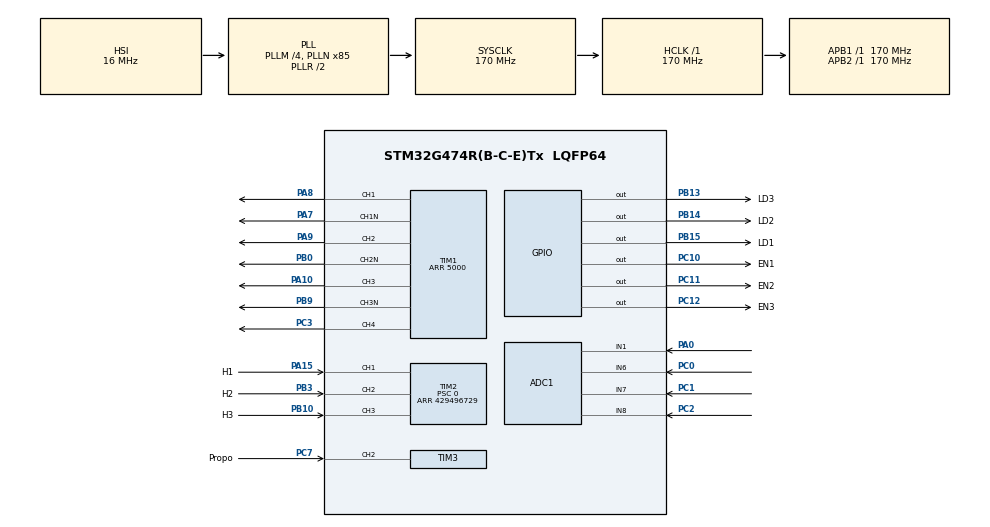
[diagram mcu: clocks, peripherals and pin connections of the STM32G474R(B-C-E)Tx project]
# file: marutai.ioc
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ADC1.Channel-0\#ChannelRegularConversion=ADC_CHANNEL_8
ADC1.EnableInjectedConversion=ENABLE
ADC1.ExternalTrigInjecConv=ADC_EXTERNALTRIGINJEC_T1_TRGO
ADC1.InjNumberOfConversion=3
ADC1.InjectedChannel-1\#ChannelInjectedConversion=ADC_CHANNEL_1
ADC1.InjectedChannel-2\#ChannelInjectedConversion=ADC_CHANNEL_7
ADC1.InjectedChannel-3\#ChannelInjectedConversion=ADC_CHANNEL_6
ADC1.InjectedOffsetNumber-1\#ChannelInjectedConversion=ADC_OFFSET_NONE
ADC1.InjectedOffsetNumber-2\#ChannelInjectedConversion=ADC_OFFSET_NONE
ADC1.InjectedOffsetNumber-3\#ChannelInjectedConversion=ADC_OFFSET_NONE
ADC1.InjectedRank-1\#ChannelInjectedConversion=1
ADC1.InjectedRank-2\#ChannelInjectedConversion=2
ADC1.InjectedRank-3\#ChannelInjectedConversion=3
ADC1.InjectedSamplingTime-1\#ChannelInjectedConversion=ADC_SAMPLETIME_2CYCLES_5
ADC1.InjectedSamplingTime-2\#ChannelInjectedConversion=ADC_SAMPLETIME_2CYCLES_5
ADC1.InjectedSamplingTime-3\#ChannelInjectedConversion=ADC_SAMPLETIME_2CYCLES_5
ADC1.NbrOfConversionFlag=1
ADC1.OffsetNumber-0\#ChannelRegularConversion=ADC_OFFSET_NONE
ADC1.Rank-0\#ChannelRegularConversion=1
ADC1.Rank1_Channel=ADC_CHANNEL_1
ADC1.Rank2_Channel=ADC_CHANNEL_7
ADC1.Rank3_Channel=ADC_CHANNEL_6
ADC1.SamplingTime-0\#ChannelRegularConversion=ADC_SAMPLETIME_2CYCLES_5
ADC1.master=1
Mcu.Family=STM32G4
Mcu.Name=STM32G474R(B-C-E)Tx
Mcu.Package=LQFP64
NVIC.ADC1_2_IRQn=true\:1\:0\:true\:false\:true\:true\:true\:true
NVIC.PriorityGroup=NVIC_PRIORITYGROUP_4
PA0.Mode=IN1-Single-Ended
PA0.Signal=ADC1_IN1
PA10.Signal=S_TIM1_CH3
PA15.GPIO_Label=H1
PA15.Signal=S_TIM2_CH1
PA7.Mode=PWM Generation1 CH1 CH1N
PA7.Signal=TIM1_CH1N
PA8.Signal=S_TIM1_CH1
PA9.Signal=S_TIM1_CH2
PB0.Mode=PWM Generation2 CH2 CH2N
PB0.Signal=TIM1_CH2N
PB10.GPIO_Label=H3
PB10.Signal=S_TIM2_CH3
PB13.GPIO_Label=LD3
PB13.Signal=GPIO_Output
PB14.GPIO_Label=LD2
PB14.Signal=GPIO_Output
PB15.GPIO_Label=LD1
PB15.Signal=GPIO_Output
PB3.GPIO_Label=H2
PB3.Signal=S_TIM2_CH2
PB9.Mode=PWM Generation3 CH3 CH3N
PB9.Signal=TIM1_CH3N
PC0.Mode=IN6-Single-Ended
PC0.Signal=ADC1_IN6
PC1.Mode=IN7-Single-Ended
PC1.Signal=ADC1_IN7
PC10.GPIO_Label=EN1
PC10.Signal=GPIO_Output
PC11.GPIO_Label=EN2
PC11.Signal=GPIO_Output
PC12.GPIO_Label=EN3
PC12.Signal=GPIO_Output
PC14-OSC32_IN.Mode=LSE-External-Oscillator
PC14-OSC32_IN.Signal=RCC_OSC32_IN
PC15-OSC32_OUT.Mode=LSE-External-Oscillator
PC15-OSC32_OUT.Signal=RCC_OSC32_OUT
PC2.Mode=IN8-Single-Ended
PC2.Signal=ADC1_IN8
PC3.Signal=S_TIM1_CH4
PC7.GPIO_Label=Propo
PC7.Signal=S_TIM3_CH2
PF0-OSC_IN.Mode=HSE-External-Oscillator
PF0-OSC_IN.Signal=RCC_OSC_IN
PF1-OSC_OUT.Mode=HSE-External-Oscillator
PF1-OSC_OUT.Signal=RCC_OSC_OUT
ProjectManager.HeapSize=0x200
ProjectManager.StackSize=0x400
ProjectManager.TargetToolchain=STM32CubeIDE
RCC.ADC12Freq_Value=170000000
RCC.ADC345Freq_Value=170000000
RCC.AHBFreq_Value=170000000
RCC.APB1Freq_Value=170000000
RCC.APB1TimFreq_Value=170000000
RCC.APB2Freq_Value=170000000
RCC.APB2TimFreq_Value=170000000
RCC.CortexFreq_Value=170000000
RCC.EXTERNAL_CLOCK_VALUE=12288000
RCC.HCLKFreq_Value=170000000
RCC.HSE_VALUE=24000000
RCC.HSI48_VALUE=48000000
RCC.HSI_VALUE=16000000
RCC.PLLM=RCC_PLLM_DIV4
RCC.PLLN=85
RCC.SYSCLKFreq_VALUE=170000000
RCC.SYSCLKSource=RCC_SYSCLKSOURCE_PLLCLK
RCC.USBFreq_Value=170000000
RCC.VCOOutputFreq_Value=340000000
SH.S_TIM1_CH1.0=TIM1_CH1,PWM Generation1 CH1 CH1N
SH.S_TIM1_CH2.0=TIM1_CH2,PWM Generation2 CH2 CH2N
SH.S_TIM1_CH3.0=TIM1_CH3,PWM Generation3 CH3 CH3N
SH.S_TIM1_CH4.0=TIM1_CH4,PWM Generation4 CH4
SH.S_TIM2_CH1.0=TIM2_CH1,Input_Capture1_from_TI1
SH.S_TIM2_CH2.0=TIM2_CH2,Input_Capture2_from_TI2
SH.S_TIM2_CH3.0=TIM2_CH3,Input_Capture3_from_TI3
SH.S_TIM3_CH2.0=TIM3_CH2,Input_Capture2_from_TI2
TIM1.Channel-PWM\ Generation1\ CH1\ CH1N=TIM_CHANNEL_1
TIM1.Channel-PWM\ Generation2\ CH2\ CH2N=TIM_CHANNEL_2
TIM1.Channel-PWM\ Generation3\ CH3\ CH3N=TIM_CHANNEL_3
TIM1.Channel-PWM\ Generation4\ CH4=TIM_CHANNEL_4
TIM1.CounterMode=TIM_COUNTERMODE_CENTERALIGNED1
TIM1.DeadTime=0
TIM1.OCNPolarity_3=TIM_OCNPOLARITY_LOW
TIM1.OCPolarity_3=TIM_OCPOLARITY_LOW
TIM1.PeriodNoDither=5000
TIM1.TIM_MasterOutputTrigger=TIM_TRGO_OC4REF
TIM2.Channel-Input_Capture1_from_TI1=TIM_CHANNEL_1
TIM2.Channel-Input_Capture2_from_TI2=TIM_CHANNEL_2
TIM2.Channel-Input_Capture3_from_TI3=TIM_CHANNEL_3
TIM2.ICFilter_CH1=10
TIM2.ICFilter_CH2=10
TIM2.ICFilter_CH3=10
TIM2.PeriodNoDither=429496729
TIM2.Prescaler=0
TIM3.Channel-Input_Capture2_from_TI2=TIM_CHANNEL_2
TIM3.ICFilter_CH2=10
TIM3.ICPolarity_CH2=TIM_INPUTCHANNELPOLARITY_BOTHEDGE
TIM3.Prescaler=170
board=custom

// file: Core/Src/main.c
/* USER CODE BEGIN Header */
/**
  ******************************************************************************
  * @file           : main.c
  * @brief          : Main program body
  ******************************************************************************
  * @attention
  *
  * Copyright (c) 2024 STMicroelectronics.
  * All rights reserved.
  *
  *
  *
  * This software is licensed under terms that can be found in the LICENSE file
  * in the root directory of this software component.
  * If no LICENSE file comes with this software, it is provided AS-IS.
  *
  ******************************************************************************
  */
/* USER CODE END Header */
#include "main.h"

/* USER CODE BEGIN Includes */
#include "SignalReadWrite.h"
#include "GlobalVariables.h"
#include "GlobalConstants.h"
/* USER CODE END Includes */

ADC_HandleTypeDef hadc1;

TIM_HandleTypeDef htim1;
TIM_HandleTypeDef htim2;
TIM_HandleTypeDef htim3;

void SystemClock_Config(void);
static void MX_GPIO_Init(void);
static void MX_ADC1_Init(void);
static void MX_TIM1_Init(void);
static void MX_TIM2_Init(void);
static void MX_TIM3_Init(void);

/* USER CODE BEGIN 0 */

/*
uint32_t IC_Val1 = 0;
uint32_t IC_Val2 = 0;
uint32_t Difference = 0;
uint16_t TIM3_OVC = 0;
int Is_First_Captured = 0;
*/

/* USER CODE END 0 */

int main(void)
{

  /* MCU Configuration--------------------------------------------------------*/

  /* Reset of all peripherals, Initializes the Flash interface and the Systick. */
  HAL_Init();

  /* Configure the system clock */
  SystemClock_Config();

  /* Initialize all configured peripherals */
  MX_GPIO_Init();
  MX_ADC1_Init();
  MX_TIM1_Init();
  MX_TIM2_Init();
  MX_TIM3_Init();
  /* USER CODE BEGIN 2 */
  HAL_TIM_Base_Start_IT(&htim1);
  HAL_ADCEx_InjectedStart_IT(&hadc1);
  HAL_GPIO_WritePin(EN1_GPIO_Port, EN1_Pin, GPIO_PIN_SET);
  HAL_GPIO_WritePin(EN2_GPIO_Port, EN2_Pin, GPIO_PIN_SET);
  HAL_GPIO_WritePin(EN3_GPIO_Port, EN3_Pin, GPIO_PIN_SET);

  HAL_TIM_PWM_Start(&htim1, TIM_CHANNEL_1);
  HAL_TIMEx_PWMN_Start(&htim1, TIM_CHANNEL_1);
  //HAL_GPIO_WritePin(CH1_GPIO_Port, CH1_Pin, GPIO_PIN_RESET);
  //HAL_GPIO_WritePin(CH1N_GPIO_Port, CH1N_Pin, GPIO_PIN_RESET);

  HAL_TIM_PWM_Start(&htim1, TIM_CHANNEL_2);
  HAL_TIMEx_PWMN_Start(&htim1, TIM_CHANNEL_2);
  //HAL_GPIO_WritePin(CH2_GPIO_Port, CH2_Pin, GPIO_PIN_RESET);
  //HAL_GPIO_WritePin(CH2N_GPIO_Port, CH2N_Pin, GPIO_PIN_RESET);

  HAL_TIM_PWM_Start(&htim1, TIM_CHANNEL_3);
  HAL_TIMEx_PWMN_Start(&htim1, TIM_CHANNEL_3);
  //HAL_GPIO_WritePin(CH3_GPIO_Port, CH3_Pin, GPIO_PIN_RESET);
  //HAL_GPIO_WritePin(CH3N_GPIO_Port, CH3N_Pin, GPIO_PIN_RESET);

  // Set Duty Output Delay to Constant
  // https://digitalservo.jp/blogs/posts/2022/12/stm32-pwm-setting/
  TIM1 -> RCR = 1;
  TIM1 -> EGR  |= TIM_EGR_UG;
  TIM1 -> CNT = TIM1 -> ARR;
  TIM1 -> CR1 &= ~(TIM_CR1_CMS);
  TIM1 -> CR1 |= TIM_CR1_DIR;
  TIM1 -> CR1 |= TIM_CR1_CMS;

  TIM1 -> ARR = COUNTERPERIOD;
  TIM1 -> CCR4 = (TIM1 -> ARR) - 40;//for Carrier Top Interrupt

  // Start TIM2 Input Capture
  HAL_TIM_Base_Start_IT(&htim2);
  HAL_TIM_IC_Start_IT(&htim2, TIM_CHANNEL_1);
  HAL_TIM_IC_Start_IT(&htim2, TIM_CHANNEL_2);
  HAL_TIM_IC_Start_IT(&htim2, TIM_CHANNEL_3);

  // Start TIM3 Input Capture
  HAL_TIM_Base_Start_IT(&htim3);
  HAL_TIM_IC_Start_IT(&htim3,TIM_CHANNEL_2);

  /*
  // Start TIM7 for DAC
  HAL_TIM_Base_Start(&htim7);
  HAL_TIM_GenerateEvent(&htim7, TIM_EVENTSOURCE_UPDATE);

  // Start DMA (This function needs to be called after Starting TIM1 & TIM2)
  HAL_ADC_Start_DMA(&hadc1, (uint32_t*)gAdcValue, 2);
  uint16_t data = 2048;
  HAL_DAC_Start(&hdac1, DAC_CHANNEL_1);
  HAL_DAC_SetValue(&hdac1, DAC_CHANNEL_1, DAC_ALIGN_12B_R, data);
  */

  /* USER CODE END 2 */

  /* Infinite loop */
  while (1)
  {

  }
}

void SystemClock_Config(void)
{
  RCC_OscInitTypeDef RCC_OscInitStruct = {0};
  RCC_ClkInitTypeDef RCC_ClkInitStruct = {0};

  /** Configure the main internal regulator output voltage
  */
  HAL_PWREx_ControlVoltageScaling(PWR_REGULATOR_VOLTAGE_SCALE1_BOOST);

  /** Initializes the RCC Oscillators according to the specified parameters
  * in the RCC_OscInitTypeDef structure.
  */
  RCC_OscInitStruct.OscillatorType = RCC_OSCILLATORTYPE_HSI;
  RCC_OscInitStruct.HSIState = RCC_HSI_ON;
  RCC_OscInitStruct.HSICalibrationValue = RCC_HSICALIBRATION_DEFAULT;
  RCC_OscInitStruct.PLL.PLLState = RCC_PLL_ON;
  RCC_OscInitStruct.PLL.PLLSource = RCC_PLLSOURCE_HSI;
  RCC_OscInitStruct.PLL.PLLM = RCC_PLLM_DIV4;
  RCC_OscInitStruct.PLL.PLLN = 85;
  RCC_OscInitStruct.PLL.PLLP = RCC_PLLP_DIV2;
  RCC_OscInitStruct.PLL.PLLQ = RCC_PLLQ_DIV2;
  RCC_OscInitStruct.PLL.PLLR = RCC_PLLR_DIV2;
  if (HAL_RCC_OscConfig(&RCC_OscInitStruct) != HAL_OK)
  {
    Error_Handler();
  }

  /** Initializes the CPU, AHB and APB buses clocks
  */
  RCC_ClkInitStruct.ClockType = RCC_CLOCKTYPE_HCLK|RCC_CLOCKTYPE_SYSCLK
                              |RCC_CLOCKTYPE_PCLK1|RCC_CLOCKTYPE_PCLK2;
  RCC_ClkInitStruct.SYSCLKSource = RCC_SYSCLKSOURCE_PLLCLK;
  RCC_ClkInitStruct.AHBCLKDivider = RCC_SYSCLK_DIV1;
  RCC_ClkInitStruct.APB1CLKDivider = RCC_HCLK_DIV1;
  RCC_ClkInitStruct.APB2CLKDivider = RCC_HCLK_DIV1;

  if (HAL_RCC_ClockConfig(&RCC_ClkInitStruct, FLASH_LATENCY_4) != HAL_OK)
  {
    Error_Handler();
  }
}

static void MX_ADC1_Init(void)
{

  ADC_MultiModeTypeDef multimode = {0};
  ADC_ChannelConfTypeDef sConfig = {0};
  ADC_InjectionConfTypeDef sConfigInjected = {0};

  /** Common config
  */
  hadc1.Instance = ADC1;
  hadc1.Init.ClockPrescaler = ADC_CLOCK_SYNC_PCLK_DIV4;
  hadc1.Init.Resolution = ADC_RESOLUTION_12B;
  hadc1.Init.DataAlign = ADC_DATAALIGN_RIGHT;
  hadc1.Init.GainCompensation = 0;
  hadc1.Init.ScanConvMode = ADC_SCAN_ENABLE;
  hadc1.Init.EOCSelection = ADC_EOC_SINGLE_CONV;
  hadc1.Init.LowPowerAutoWait = DISABLE;
  hadc1.Init.ContinuousConvMode = DISABLE;
  hadc1.Init.NbrOfConversion = 1;
  hadc1.Init.DiscontinuousConvMode = DISABLE;
  hadc1.Init.ExternalTrigConv = ADC_SOFTWARE_START;
  hadc1.Init.ExternalTrigConvEdge = ADC_EXTERNALTRIGCONVEDGE_NONE;
  hadc1.Init.DMAContinuousRequests = DISABLE;
  hadc1.Init.Overrun = ADC_OVR_DATA_PRESERVED;
  hadc1.Init.OversamplingMode = DISABLE;
  if (HAL_ADC_Init(&hadc1) != HAL_OK)
  {
    Error_Handler();
  }

  /** Configure the ADC multi-mode
  */
  multimode.Mode = ADC_MODE_INDEPENDENT;
  if (HAL_ADCEx_MultiModeConfigChannel(&hadc1, &multimode) != HAL_OK)
  {
    Error_Handler();
  }

  /** Configure Regular Channel
  */
  sConfig.Channel = ADC_CHANNEL_8;
  sConfig.Rank = ADC_REGULAR_RANK_1;
  sConfig.SamplingTime = ADC_SAMPLETIME_2CYCLES_5;
  sConfig.SingleDiff = ADC_SINGLE_ENDED;
  sConfig.OffsetNumber = ADC_OFFSET_NONE;
  sConfig.Offset = 0;
  if (HAL_ADC_ConfigChannel(&hadc1, &sConfig) != HAL_OK)
  {
    Error_Handler();
  }

  /** Configure Injected Channel
  */
  sConfigInjected.InjectedChannel = ADC_CHANNEL_1;
  sConfigInjected.InjectedRank = ADC_INJECTED_RANK_1;
  sConfigInjected.InjectedSamplingTime = ADC_SAMPLETIME_2CYCLES_5;
  sConfigInjected.InjectedSingleDiff = ADC_SINGLE_ENDED;
  sConfigInjected.InjectedOffsetNumber = ADC_OFFSET_NONE;
  sConfigInjected.InjectedOffset = 0;
  sConfigInjected.InjectedNbrOfConversion = 3;
  sConfigInjected.InjectedDiscontinuousConvMode = DISABLE;
  sConfigInjected.AutoInjectedConv = DISABLE;
  sConfigInjected.QueueInjectedContext = DISABLE;
  sConfigInjected.ExternalTrigInjecConv = ADC_EXTERNALTRIGINJEC_T1_TRGO;
  sConfigInjected.ExternalTrigInjecConvEdge = ADC_EXTERNALTRIGINJECCONV_EDGE_RISING;
  sConfigInjected.InjecOversamplingMode = DISABLE;
  if (HAL_ADCEx_InjectedConfigChannel(&hadc1, &sConfigInjected) != HAL_OK)
  {
    Error_Handler();
  }

  /** Configure Injected Channel
  */
  sConfigInjected.InjectedChannel = ADC_CHANNEL_7;
  sConfigInjected.InjectedRank = ADC_INJECTED_RANK_2;
  if (HAL_ADCEx_InjectedConfigChannel(&hadc1, &sConfigInjected) != HAL_OK)
  {
    Error_Handler();
  }

  /** Configure Injected Channel
  */
  sConfigInjected.InjectedChannel = ADC_CHANNEL_6;
  sConfigInjected.InjectedRank = ADC_INJECTED_RANK_3;
  if (HAL_ADCEx_InjectedConfigChannel(&hadc1, &sConfigInjected) != HAL_OK)
  {
    Error_Handler();
  }

}

static void MX_TIM1_Init(void)
{

  TIM_MasterConfigTypeDef sMasterConfig = {0};
  TIM_OC_InitTypeDef sConfigOC = {0};
  TIM_BreakDeadTimeConfigTypeDef sBreakDeadTimeConfig = {0};

  htim1.Instance = TIM1;
  htim1.Init.Prescaler = 0;
  htim1.Init.CounterMode = TIM_COUNTERMODE_CENTERALIGNED1;
  htim1.Init.Period = 5000;
  htim1.Init.ClockDivision = TIM_CLOCKDIVISION_DIV1;
  htim1.Init.RepetitionCounter = 0;
  htim1.Init.AutoReloadPreload = TIM_AUTORELOAD_PRELOAD_DISABLE;
  if (HAL_TIM_PWM_Init(&htim1) != HAL_OK)
  {
    Error_Handler();
  }
  sMasterConfig.MasterOutputTrigger = TIM_TRGO_OC4REF;
  sMasterConfig.MasterOutputTrigger2 = TIM_TRGO2_RESET;
  sMasterConfig.MasterSlaveMode = TIM_MASTERSLAVEMODE_DISABLE;
  if (HAL_TIMEx_MasterConfigSynchronization(&htim1, &sMasterConfig) != HAL_OK)
  {
    Error_Handler();
  }
  sConfigOC.OCMode = TIM_OCMODE_PWM1;
  sConfigOC.Pulse = 0;
  sConfigOC.OCPolarity = TIM_OCPOLARITY_HIGH;
  sConfigOC.OCNPolarity = TIM_OCNPOLARITY_HIGH;
  sConfigOC.OCFastMode = TIM_OCFAST_DISABLE;
  sConfigOC.OCIdleState = TIM_OCIDLESTATE_RESET;
  sConfigOC.OCNIdleState = TIM_OCNIDLESTATE_RESET;
  if (HAL_TIM_PWM_ConfigChannel(&htim1, &sConfigOC, TIM_CHANNEL_1) != HAL_OK)
  {
    Error_Handler();
  }
  if (HAL_TIM_PWM_ConfigChannel(&htim1, &sConfigOC, TIM_CHANNEL_2) != HAL_OK)
  {
    Error_Handler();
  }
  sConfigOC.OCPolarity = TIM_OCPOLARITY_LOW;
  sConfigOC.OCNPolarity = TIM_OCNPOLARITY_LOW;
  if (HAL_TIM_PWM_ConfigChannel(&htim1, &sConfigOC, TIM_CHANNEL_3) != HAL_OK)
  {
    Error_Handler();
  }
  sConfigOC.OCPolarity = TIM_OCPOLARITY_HIGH;
  sConfigOC.OCNPolarity = TIM_OCNPOLARITY_HIGH;
  if (HAL_TIM_PWM_ConfigChannel(&htim1, &sConfigOC, TIM_CHANNEL_4) != HAL_OK)
  {
    Error_Handler();
  }
  sBreakDeadTimeConfig.OffStateRunMode = TIM_OSSR_DISABLE;
  sBreakDeadTimeConfig.OffStateIDLEMode = TIM_OSSI_DISABLE;
  sBreakDeadTimeConfig.LockLevel = TIM_LOCKLEVEL_OFF;
  sBreakDeadTimeConfig.DeadTime = 0;
  sBreakDeadTimeConfig.BreakState = TIM_BREAK_DISABLE;
  sBreakDeadTimeConfig.BreakPolarity = TIM_BREAKPOLARITY_HIGH;
  sBreakDeadTimeConfig.BreakFilter = 0;
  sBreakDeadTimeConfig.BreakAFMode = TIM_BREAK_AFMODE_INPUT;
  sBreakDeadTimeConfig.Break2State = TIM_BREAK2_DISABLE;
  sBreakDeadTimeConfig.Break2Polarity = TIM_BREAK2POLARITY_HIGH;
  sBreakDeadTimeConfig.Break2Filter = 0;
  sBreakDeadTimeConfig.Break2AFMode = TIM_BREAK_AFMODE_INPUT;
  sBreakDeadTimeConfig.AutomaticOutput = TIM_AUTOMATICOUTPUT_DISABLE;
  if (HAL_TIMEx_ConfigBreakDeadTime(&htim1, &sBreakDeadTimeConfig) != HAL_OK)
  {
    Error_Handler();
  }
  HAL_TIM_MspPostInit(&htim1);

}

static void MX_TIM2_Init(void)
{

  TIM_MasterConfigTypeDef sMasterConfig = {0};
  TIM_IC_InitTypeDef sConfigIC = {0};

  htim2.Instance = TIM2;
  htim2.Init.Prescaler = 0;
  htim2.Init.CounterMode = TIM_COUNTERMODE_UP;
  htim2.Init.Period = 4.29496729E8;
  htim2.Init.ClockDivision = TIM_CLOCKDIVISION_DIV1;
  htim2.Init.AutoReloadPreload = TIM_AUTORELOAD_PRELOAD_DISABLE;
  if (HAL_TIM_IC_Init(&htim2) != HAL_OK)
  {
    Error_Handler();
  }
  sMasterConfig.MasterOutputTrigger = TIM_TRGO_RESET;
  sMasterConfig.MasterSlaveMode = TIM_MASTERSLAVEMODE_DISABLE;
  if (HAL_TIMEx_MasterConfigSynchronization(&htim2, &sMasterConfig) != HAL_OK)
  {
    Error_Handler();
  }
  sConfigIC.ICPolarity = TIM_INPUTCHANNELPOLARITY_RISING;
  sConfigIC.ICSelection = TIM_ICSELECTION_DIRECTTI;
  sConfigIC.ICPrescaler = TIM_ICPSC_DIV1;
  sConfigIC.ICFilter = 10;
  if (HAL_TIM_IC_ConfigChannel(&htim2, &sConfigIC, TIM_CHANNEL_1) != HAL_OK)
  {
    Error_Handler();
  }
  if (HAL_TIM_IC_ConfigChannel(&htim2, &sConfigIC, TIM_CHANNEL_2) != HAL_OK)
  {
    Error_Handler();
  }
  if (HAL_TIM_IC_ConfigChannel(&htim2, &sConfigIC, TIM_CHANNEL_3) != HAL_OK)
  {
    Error_Handler();
  }

}

static void MX_TIM3_Init(void)
{

  TIM_MasterConfigTypeDef sMasterConfig = {0};
  TIM_IC_InitTypeDef sConfigIC = {0};

  htim3.Instance = TIM3;
  htim3.Init.Prescaler = 170;
  htim3.Init.CounterMode = TIM_COUNTERMODE_UP;
  htim3.Init.Period = 65535;
  htim3.Init.ClockDivision = TIM_CLOCKDIVISION_DIV1;
  htim3.Init.AutoReloadPreload = TIM_AUTORELOAD_PRELOAD_DISABLE;
  if (HAL_TIM_IC_Init(&htim3) != HAL_OK)
  {
    Error_Handler();
  }
  sMasterConfig.MasterOutputTrigger = TIM_TRGO_RESET;
  sMasterConfig.MasterSlaveMode = TIM_MASTERSLAVEMODE_DISABLE;
  if (HAL_TIMEx_MasterConfigSynchronization(&htim3, &sMasterConfig) != HAL_OK)
  {
    Error_Handler();
  }
  sConfigIC.ICPolarity = TIM_INPUTCHANNELPOLARITY_BOTHEDGE;
  sConfigIC.ICSelection = TIM_ICSELECTION_DIRECTTI;
  sConfigIC.ICPrescaler = TIM_ICPSC_DIV1;
  sConfigIC.ICFilter = 10;
  if (HAL_TIM_IC_ConfigChannel(&htim3, &sConfigIC, TIM_CHANNEL_2) != HAL_OK)
  {
    Error_Handler();
  }

}

static void MX_GPIO_Init(void)
{
  GPIO_InitTypeDef GPIO_InitStruct = {0};

  /* GPIO Ports Clock Enable */
  __HAL_RCC_GPIOC_CLK_ENABLE();
  __HAL_RCC_GPIOF_CLK_ENABLE();
  __HAL_RCC_GPIOA_CLK_ENABLE();
  __HAL_RCC_GPIOB_CLK_ENABLE();

  /*Configure GPIO pin Output Level */
  HAL_GPIO_WritePin(GPIOB, LD3_Pin|LD2_Pin|LD1_Pin, GPIO_PIN_RESET);

  /*Configure GPIO pin Output Level */
  HAL_GPIO_WritePin(GPIOC, EN1_Pin|EN2_Pin|EN3_Pin, GPIO_PIN_RESET);

  /*Configure GPIO pins : LD3_Pin LD2_Pin LD1_Pin */
  GPIO_InitStruct.Pin = LD3_Pin|LD2_Pin|LD1_Pin;
  GPIO_InitStruct.Mode = GPIO_MODE_OUTPUT_PP;
  GPIO_InitStruct.Pull = GPIO_NOPULL;
  GPIO_InitStruct.Speed = GPIO_SPEED_FREQ_LOW;
  HAL_GPIO_Init(GPIOB, &GPIO_InitStruct);

  /*Configure GPIO pins : EN1_Pin EN2_Pin EN3_Pin */
  GPIO_InitStruct.Pin = EN1_Pin|EN2_Pin|EN3_Pin;
  GPIO_InitStruct.Mode = GPIO_MODE_OUTPUT_PP;
  GPIO_InitStruct.Pull = GPIO_NOPULL;
  GPIO_InitStruct.Speed = GPIO_SPEED_FREQ_LOW;
  HAL_GPIO_Init(GPIOC, &GPIO_InitStruct);

}

void Error_Handler(void)
{
  __disable_irq();
  while (1)
  {
  }
}
